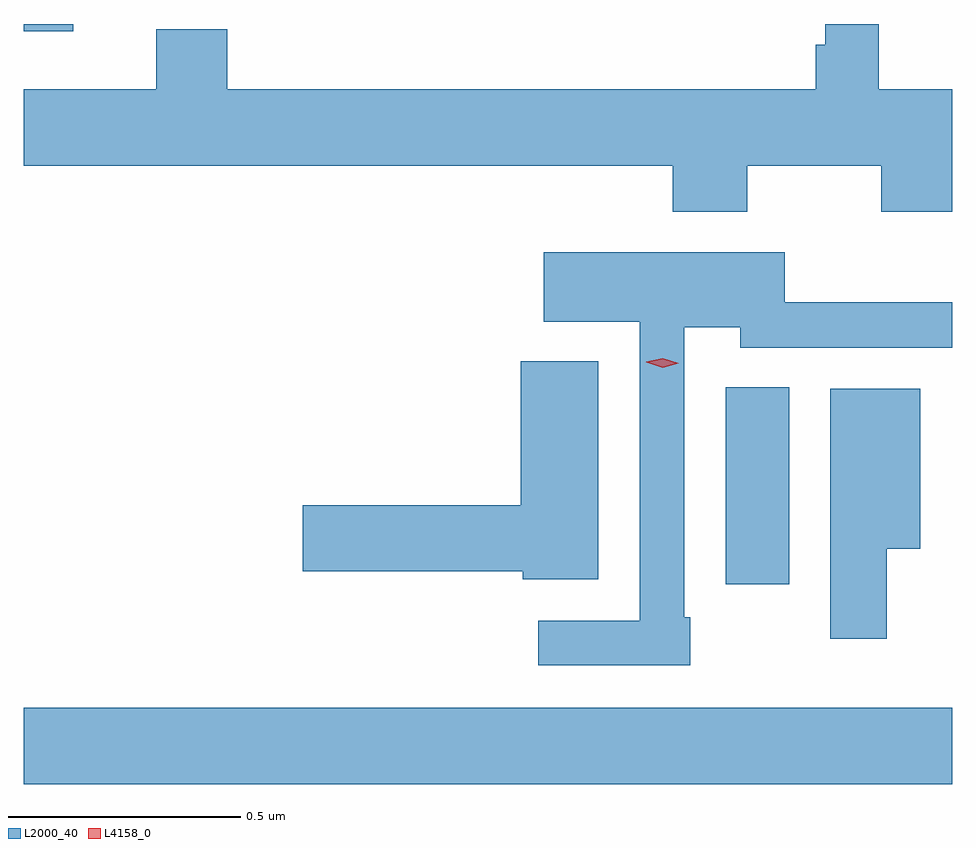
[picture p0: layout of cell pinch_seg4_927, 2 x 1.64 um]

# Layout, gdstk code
import gdstk
lib = gdstk.Library(unit=1e-6, precision=1e-09)
def R(c, l, rs):  # rectangles x0, y0, x1, y1
    for r in rs: c.add(gdstk.rectangle(r[:2], r[2:], *l))
def P(c, l, *ps):  # polygons
    for p in ps: c.add(gdstk.Polygon(p, *l))
L2000_40 = (2000, 40)
L4158_0 = (4158, 0)

pinch_seg4_927 = lib.new_cell('pinch_seg4_927')
R(pinch_seg4_927, L2000_40, [(707.303,820.796,709.303,820.96), (708.815,821.226,708.952,821.651), (707.303,822.417,707.41,822.433)])
P(pinch_seg4_927, L2000_40, [(708.861,822.128),(709.15,822.128),(709.15,822.029),(709.303,822.029),(709.303,822.292),(709.145,822.292),(709.145,822.433),(709.029,822.433),(709.029,822.388),(709.009,822.388),(709.009,822.292),(707.741,822.292),(707.741,822.422),(707.588,822.422),(707.588,822.292),(707.303,822.292),(707.303,822.128),(708.701,822.128),(708.701,822.029),(708.861,822.029)],
  [(708.739,821.155),(708.726,821.155),(708.726,821.78),(708.846,821.78),(708.846,821.736),(709.303,821.736),(709.303,821.834),(708.942,821.834),(708.942,821.941),(708.423,821.941),(708.423,821.792),(708.63,821.792),(708.63,821.148),(708.411,821.148),(708.411,821.052),(708.739,821.052)],
  [(708.541,821.707),(708.374,821.707),(708.374,821.396),(707.904,821.396),(707.904,821.254),(708.378,821.254),(708.378,821.237),(708.541,821.237)],
  [(709.162,821.303),(709.234,821.303),(709.234,821.647),(709.04,821.647),(709.04,821.109),(709.162,821.109)])
P(pinch_seg4_927, L4158_0, [(708.679,821.693),(708.644,821.704),(708.644,821.705),(708.644,821.705),(708.679,821.713),(708.714,821.702),(708.714,821.702),(708.714,821.702)])

lib.write_gds('pinch_seg4_927.gds')
